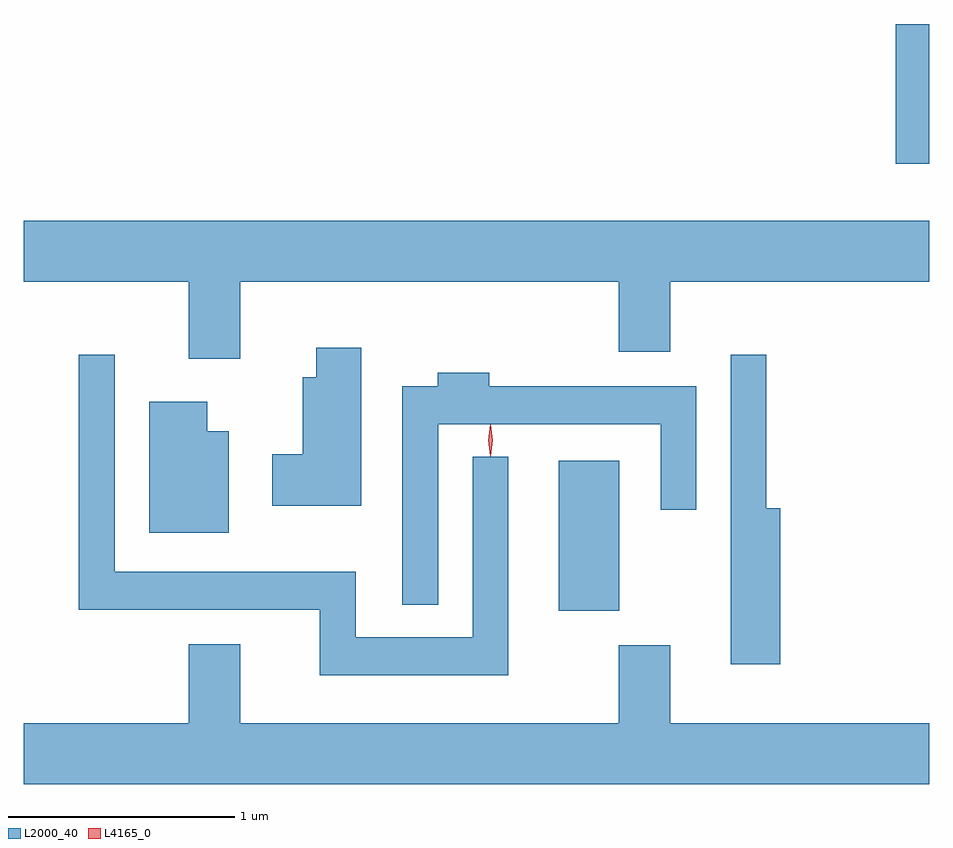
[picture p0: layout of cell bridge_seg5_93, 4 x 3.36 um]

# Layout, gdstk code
import gdstk
lib = gdstk.Library(unit=1e-6, precision=1e-09)
def R(c, l, rs):  # rectangles x0, y0, x1, y1
    for r in rs: c.add(gdstk.rectangle(r[:2], r[2:], *l))
def P(c, l, *ps):  # polygons
    for p in ps: c.add(gdstk.Polygon(p, *l))
L2000_40 = (2000, 40)
L4165_0 = (4165, 0)

bridge_seg5_93 = lib.new_cell('bridge_seg5_93')
R(bridge_seg5_93, L2000_40, [(1191.316,1501.961,1191.584,1502.624), (1192.806,1503.936,1192.953,1504.554)])
P(bridge_seg5_93, L2000_40, [(1189.909,1503.416),(1191.581,1503.416),(1191.581,1503.106),(1191.809,1503.106),(1191.809,1503.416),(1192.953,1503.416),(1192.953,1503.684),(1188.953,1503.684),(1188.953,1503.416),(1189.681,1503.416),(1189.681,1503.076),(1189.909,1503.076)],
  [(1190.444,1503.124),(1190.246,1503.124),(1190.246,1502.994),(1190.186,1502.994),(1190.186,1502.654),(1190.051,1502.654),(1190.051,1502.426),(1190.444,1502.426)],
  [(1192.294,1502.414),(1192.234,1502.414),(1192.234,1503.093),(1192.076,1503.093),(1192.076,1501.726),(1192.294,1501.726)],
  [(1191.094,1502.643),(1190.936,1502.643),(1190.936,1501.844),(1190.419,1501.844),(1190.419,1502.134),(1189.354,1502.134),(1189.354,1503.093),(1189.196,1503.093),(1189.196,1501.966),(1190.261,1501.966),(1190.261,1501.676),(1191.094,1501.676)],
  [(1190.784,1502.786),(1191.766,1502.786),(1191.766,1502.408),(1191.924,1502.408),(1191.924,1502.954),(1191.009,1502.954),(1191.009,1503.014),(1190.781,1503.014),(1190.781,1502.954),(1190.626,1502.954),(1190.626,1501.988),(1190.784,1501.988)],
  [(1189.859,1502.754),(1189.764,1502.754),(1189.764,1502.884),(1189.506,1502.884),(1189.506,1502.306),(1189.859,1502.306)],
  [(1192.953,1501.464),(1191.809,1501.464),(1191.809,1501.809),(1191.581,1501.809),(1191.581,1501.464),(1189.909,1501.464),(1189.909,1501.814),(1189.681,1501.814),(1189.681,1501.464),(1188.953,1501.464),(1188.953,1501.196),(1192.953,1501.196)])
P(bridge_seg5_93, L4165_0, [(1191.014,1502.647),(1191.005,1502.714),(1191.014,1502.78),(1191.015,1502.781),(1191.015,1502.78),(1191.025,1502.714),(1191.015,1502.647),(1191.015,1502.647)],
  [(1191.014,1502.644),(1191.005,1502.714),(1191.014,1502.783),(1191.015,1502.783),(1191.015,1502.783),(1191.025,1502.714),(1191.015,1502.644),(1191.015,1502.644)])

lib.write_gds('bridge_seg5_93.gds')
